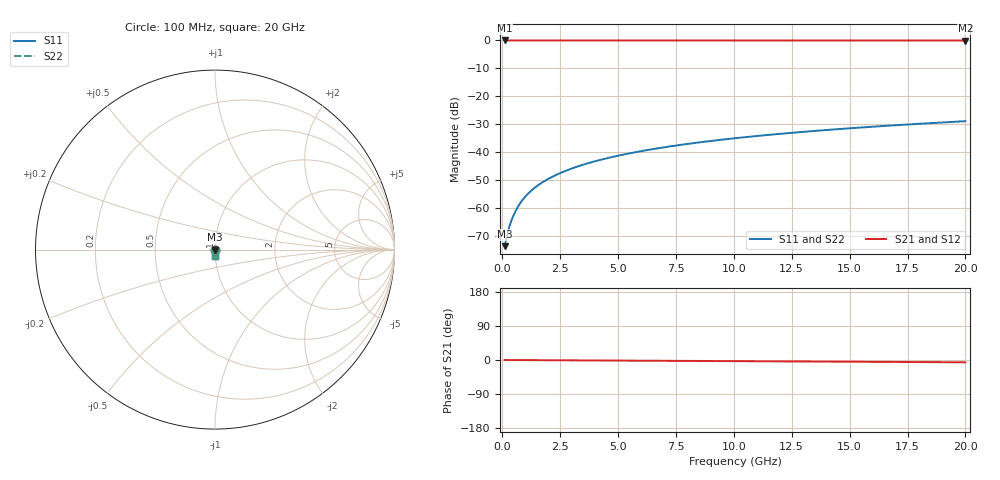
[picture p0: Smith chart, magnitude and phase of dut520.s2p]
! Touchstone file exported from HFSS 2026.1.0
!  File:  C:/ffzhzh/LocalFiles/Ansys_Project_Files/temp_train_TSV_520_1783023476_51716.aedt
!  Generated:  04:19:28 AM Jul  3, 2026
!  Design:  TSV
!  Project:  temp_train_TSV_520_1783023476_51716
! Variables:
!  h_bsmrdl = 2um
!  h_ox = 20um
!  h_rdl = 5um
!  h_sub = 60um
!  h_tmrdl = 5um
!  h_tsv = 60um
!  h_via = 3um
!  l_bsmrdl = 300um
!  l_sub = 415.5um
!  l_tmrdl = 200um
!  m_sub = 200um
!  pitch = 22.97um
!  r_tsv = 7.75um
!  s_tmrdl = 10um
!  w_bsmrdl = 18um
!  w_sub = 500um
!  w_tmrdl = 12um
!  x_tsv_center1 = 206um
!  x_tsv_center2 = 524um
!  x_tsv_center3 = 736um
!  x_tsv_center4 = 1054um
!  x_tsv_center5 = 1266um
!  x_tsv_center6 = 1584um
# GHz S MA R 50.000000
! Terminal data exported
! Port[1] = TSV1_1_T1
! Port[2] = TSV1_1_T2
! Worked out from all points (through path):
!   200 points, 100 MHz to 20 GHz, reference 50 ohm
!   highest |S21| = 0.00 dB at 100 MHz (marker M1); lowest = 0.0 dB at 20 GHz (marker M2)
!   lowest |S11| = -73.7 dB at 100 MHz (marker M3), VSWR 1.00, Z = 50 - j0.013 ohm
!   |S11| at or under -10 dB: start of sweep to end of sweep
!   |S22| runs from -73.7 to -28.9 dB; largest |S21 - S12| = 2.2e-15
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0.1  0.0002072 -38.9  0.9998 -0.0  0.9998 -0.0  0.0002072 -38.9
! Gamma 0 0 0 0
! Port Impedance 50 0 50 0
0.2  0.0003193 -56.2  0.9998 -0.1  0.9998 -0.1  0.0003193 -56.2
0.3  0.0004552 -63.8  0.9998 -0.1  0.9998 -0.1  0.0004552 -63.8
0.4  0.0006045 -67.9  0.9998 -0.1  0.9998 -0.1  0.0006045 -67.9
0.5  0.0007626 -70.6  0.9997 -0.2  0.9997 -0.2  0.0007626 -70.6
0.6  0.0009268 -72.6  0.9997 -0.2  0.9997 -0.2  0.0009268 -72.6
0.8  0.001265 -75.5  0.9997 -0.3  0.9997 -0.3  0.001265 -75.5
1.1  0.001783 -78.4  0.9996 -0.3  0.9996 -0.3  0.001783 -78.4
1.3  0.00213 -79.8  0.9996 -0.4  0.9996 -0.4  0.00213 -79.8
1.5  0.002477 -80.9  0.9996 -0.5  0.9996 -0.5  0.002477 -80.9
1.8  0.002999 -82.1  0.9996 -0.6  0.9996 -0.6  0.002999 -82.1
2.1  0.003521 -83.1  0.9995 -0.7  0.9995 -0.7  0.003521 -83.1
2.7  0.004568 -84.4  0.9995 -0.8  0.9995 -0.8  0.004568 -84.4
3.5  0.005973 -85.5  0.9994 -1.1  0.9994 -1.1  0.005973 -85.5
4.2  0.007212 -86.2  0.9993 -1.3  0.9993 -1.3  0.007212 -86.2
5  0.008638 -86.9  0.9993 -1.5  0.9993 -1.5  0.008638 -86.9
6.8  0.01187 -88.1  0.9991 -2.1  0.9991 -2.1  0.01187 -88.1
8.3  0.01458 -88.9  0.999 -2.5  0.999 -2.5  0.01458 -88.9
10.1  0.01784 -89.8  0.9988 -3.1  0.9988 -3.1  0.01784 -89.8
13.4  0.02383 -91.3  0.9986 -4.1  0.9986 -4.1  0.02383 -91.3
16.7  0.02983 -92.6  0.9983 -5.1  0.9983 -5.1  0.02983 -92.6
20  0.03584 -93.8  0.9979 -6.1  0.9979 -6.1  0.03584 -93.8
